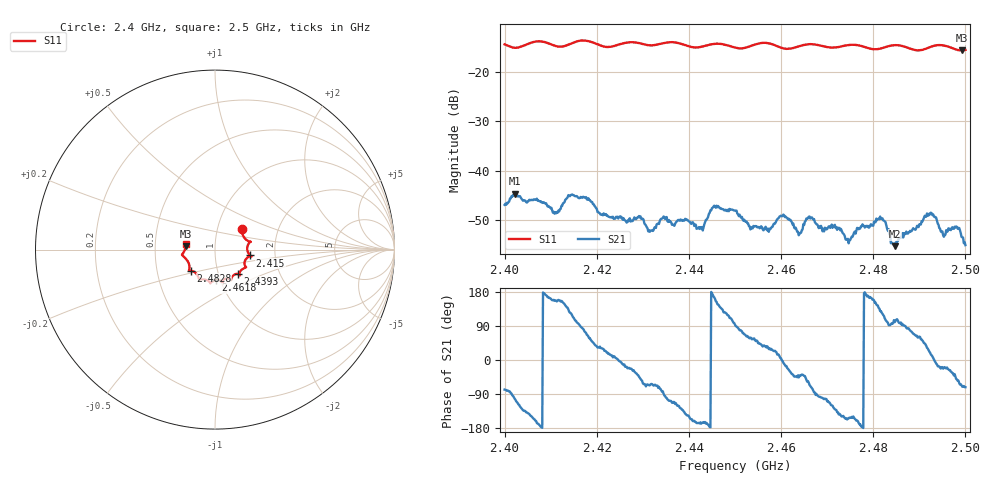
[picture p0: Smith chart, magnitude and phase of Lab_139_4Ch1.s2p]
# Hz S RI R 50
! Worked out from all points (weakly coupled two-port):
!   601 points, 2.4 GHz to 2.5 GHz, reference 50 ohm
!   highest |S21| = -44.64 dB at 2.4023 GHz (marker M1); lowest = -55.3 dB at 2.4847 GHz (marker M2)
!   lowest |S11| = -15.7 dB at 2.4992 GHz (marker M3), VSWR 1.39, Z = 35.9 + j1.35 ohm
!   |S11| at or under -10 dB: start of sweep to end of sweep
!   S12 and S22 are empty: the file has one direction only
!   S11 on the Smith chart (normalised r, x): 2.4 GHz: 1.31, +0.31; 2.415 GHz: 1.48, -0.10; 2.4393 GHz: 1.23, -0.35; 2.4618 GHz: 0.95, -0.33; 2.4828 GHz: 0.74, -0.18; 2.5 GHz: 0.72, +0.05
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2.4e9  0.1507 0.1145  0.000931 -0.00442  0 0  0 0
2.402333e9  0.1568 0.077  -0.00148 -0.00567  0 0  0 0
2.411e9  0.1816 0.0198  -0.00351 0.00148  0 0  0 0
2.415e9  0.195 -0.0325  -0.00204 0.00529  0 0  0 0
2.416667e9  0.2035 -0.0385  0.000357 0.00538  0 0  0 0
2.433333e9  0.1369 -0.1314  0.000825 -0.00281  0 0  0 0
2.439333e9  0.1256 -0.1354  -0.00258 -0.00196  0 0  0 0
2.442667e9  0.0957 -0.1509  -0.00257 -0.000549  0 0  0 0
2.4455e9  0.0888 -0.1696  -0.00429 0.00114  0 0  0 0
2.45e9  0.0691 -0.1617  -0.000205 0.00395  0 0  0 0
2.4535e9  0.0403 -0.1785  0.00136 0.0022  0 0  0 0
2.461833e9  0.00399 -0.171  0.00278 -0.00152  0 0  0 0
2.464e9  -0.0201 -0.181  0.00174 -0.00151  0 0  0 0
2.466667e9  -0.0258 -0.1885  0.000903 -0.00326  0 0  0 0
2.4745e9  -0.0828 -0.1666  -0.00185 -0.000883  0 0  0 0
2.482833e9  -0.1343 -0.118  -0.000635 0.00275  0 0  0 0
2.483333e9  -0.1383 -0.1177  -0.000104 0.00257  0 0  0 0
2.484667e9  -0.1443 -0.1171  -0.000294 0.0017  0 0  0 0
2.492167e9  -0.1715 -0.0414  0.0034 0.00139  0 0  0 0
2.495167e9  -0.1831 -0.0266  0.00206 -0.000863  0 0  0 0
2.499167e9  -0.1633 0.0183  0.000839 -0.00197  0 0  0 0
2.5e9  -0.163 0.0331  0.00055 -0.00168  0 0  0 0
